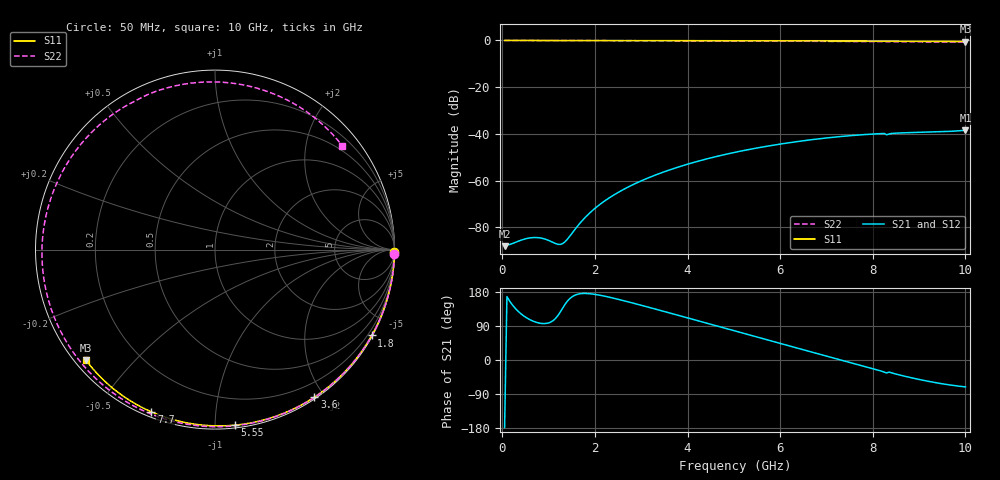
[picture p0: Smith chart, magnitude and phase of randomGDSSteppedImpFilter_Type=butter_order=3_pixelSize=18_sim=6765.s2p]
! freq	dB(S11)	phase(S11)	dB(S12)	phase(S12)
!  dB(S21)	phase(S21)	dB(S22)	phase(S22)
!S-par simulation data
#  GHz  S  DB  R 50
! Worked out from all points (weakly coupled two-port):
!   200 points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, 50 MHz to 10 GHz, reference 50 ohm
!   highest |S21| = -38.40 dB at 10 GHz (marker M1); lowest = -88.0 dB at 50 MHz (marker M2)
!   lowest |S11| = -0.5 dB at 10 GHz (marker M3), VSWR 36.41, Z = 1.56 - j18.4 ohm
!   |S11| at or under -10 dB: nowhere
!   |S22| runs from -0.8 to 0.0 dB; largest |S21 - S12| = 0
!   S11 on the Smith chart (normalised r, x): 50 MHz: open; 1.8 GHz: 0.03, -3.91; 3.6 GHz: 0.02, -1.88; 5.55 GHz: 0.02, -1.12; 7.7 GHz: 0.02, -0.68; 10 GHz: 0.03, -0.37
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0.05  -0.00 -0.8  -87.99 -178.1  -87.99 -178.1  -0.00 -1.5
0.8  -0.01 -12.9  -84.41 97.4  -84.41 97.4  -0.03 -24.5
1.6  -0.03 -25.6  -80.02 172.5  -80.02 172.5  -0.06 -48.3
1.75  -0.04 -27.9  -76.54 175.5  -76.54 175.5  -0.07 -52.7
1.8  -0.04 -28.7  -75.50 175.6  -75.50 175.6  -0.07 -54.2
2.1  -0.04 -33.4  -70.25 171.1  -70.25 171.1  -0.08 -62.8
2.45  -0.05 -38.7  -65.59 161.7  -65.59 161.7  -0.09 -72.7
2.9  -0.06 -45.6  -60.95 147.7  -60.95 147.7  -0.11 -85.3
3.4  -0.07 -53.1  -56.87 131.3  -56.87 131.3  -0.13 -98.9
3.6  -0.08 -56.0  -55.46 124.6  -55.46 124.6  -0.14 -104.2
4.3  -0.09 -66.1  -51.26 101.0  -51.26 101.0  -0.17 -122.8
5.05  -0.12 -76.7  -47.74 75.7  -47.74 75.7  -0.21 -142.6
5.55  -0.14 -83.5  -45.82 58.8  -45.82 58.8  -0.25 -156.0
6.15  -0.16 -91.5  -43.88 38.7  -43.88 38.7  -0.29 -172.6
6.7  -0.19 -98.7  -42.40 20.4  -42.40 20.4  -0.34 171.4
7.2  -0.22 -105.1  -41.30 3.7  -41.30 3.7  -0.40 155.8
7.7  -0.26 -111.4  -40.44 -12.9  -40.44 -12.9  -0.45 139.0
8.35  -0.31 -119.4  -40.02 -31.9  -40.02 -31.9  -0.53 115.0
8.8  -0.35 -124.9  -39.42 -46.0  -39.42 -46.0  -0.57 96.2
9.2  -0.39 -129.8  -39.21 -56.2  -39.21 -56.2  -0.63 78.3
9.6  -0.43 -134.7  -38.95 -64.7  -38.95 -64.7  -0.69 59.2
10  -0.48 -139.5  -38.40 -71.0  -38.40 -71.0  -0.77 39.2
